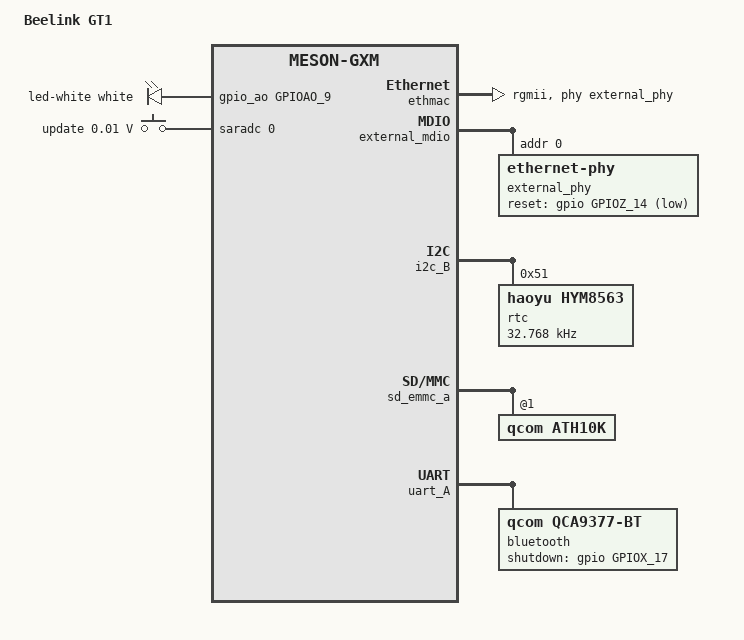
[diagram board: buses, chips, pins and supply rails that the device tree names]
// SPDX-License-Identifier: (GPL-2.0+ OR MIT)
/*
 * Copyright (c) Christian Hewitt <christianshewitt@gmail.com>
 */

/dts-v1/;

#include "meson-gxm.dtsi"
#include "meson-gx-p23x-q20x.dtsi"
#include <dt-bindings/input/input.h>
#include <dt-bindings/leds/common.h>

/ {
	compatible = "azw,gt1", "amlogic,s912", "amlogic,meson-gxm";
	model = "Beelink GT1";

	aliases {
		rtc0 = &rtc;
		rtc1 = &vrtc;
	};

	leds {
		compatible = "gpio-leds";

		led-white {
			color = <LED_COLOR_ID_WHITE>;
			function = LED_FUNCTION_POWER;
			gpios = <&gpio_ao GPIOAO_9 GPIO_ACTIVE_HIGH>;
			default-state = "on";
			panic-indicator;
		};
	};

	adc-keys {
		compatible = "adc-keys";
		io-channels = <&saradc 0>;
		io-channel-names = "buttons";
		keyup-threshold-microvolt = <1710000>;

		button-function {
			label = "update";
			linux,code = <KEY_VENDOR>;
			press-threshold-microvolt = <10000>;
		};
	};
};

&ethmac {
	pinctrl-0 = <&eth_pins>;
	pinctrl-names = "default";

	phy-handle = <&external_phy>;
	phy-mode = "rgmii";

	amlogic,tx-delay-ns = <2>;
};

&external_mdio {
	external_phy: ethernet-phy@0 {
		/* Realtek RTL8211F (0x2009087f) */
		reg = <0>;
		max-speed = <1000>;

		reset-assert-us = <10000>;
		reset-deassert-us = <80000>;
		reset-gpios = <&gpio GPIOZ_14 GPIO_ACTIVE_LOW>;

		interrupt-parent = <&gpio_intc>;
		/* MAC_INTR on GPIOZ_15 */
		interrupts = <25 IRQ_TYPE_LEVEL_LOW>;
	};
};

&ir {
	linux,rc-map-name = "rc-beelink-gs1";
};

&i2c_B {
	status = "okay";
	pinctrl-0 = <&i2c_b_pins>;
	pinctrl-names = "default";

	rtc: rtc@51 {
		compatible = "haoyu,hym8563";
		reg = <0x51>;
		#clock-cells = <0>;
		clock-frequency = <32768>;
		clock-output-names = "xin32k";
		wakeup-source;
	};
};

&pinctrl_periphs {
	/* Ensure the phy irq pin is properly configured as input */
	eth_phy_irq_pin: eth-phy-irq {
		mux {
			groups = "GPIOZ_15";
			function = "gpio_periphs";
			bias-disable;
			output-disable;
		};
	};
};

&sd_emmc_a {
	/* QCA9377 WiFi */
	ath10k: wifi@1 {
		reg = <1>;
		compatible = "qcom,ath10k";
	};
};

&uart_A {
	status = "okay";
	pinctrl-0 = <&uart_a_pins>, <&uart_a_cts_rts_pins>;
	pinctrl-names = "default";
	uart-has-rtscts;

	bluetooth {
		compatible = "qcom,qca9377-bt";
		shutdown-gpios = <&gpio GPIOX_17 GPIO_ACTIVE_HIGH>;
		max-speed = <2000000>;
		clocks = <&wifi32k>;
		clock-names = "lpo";
	};
};
